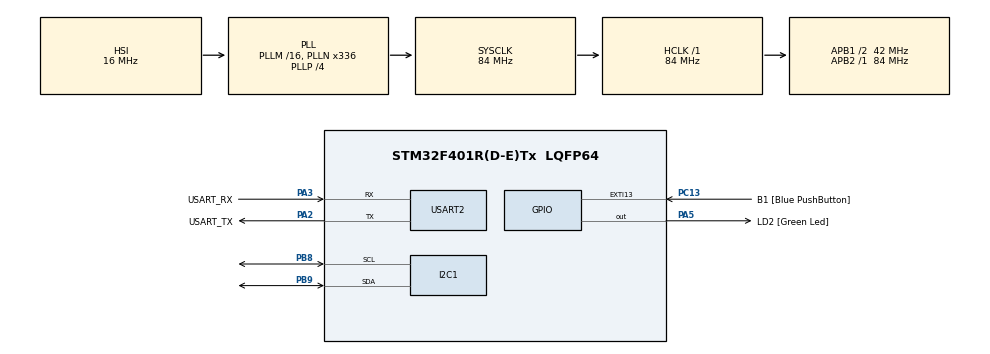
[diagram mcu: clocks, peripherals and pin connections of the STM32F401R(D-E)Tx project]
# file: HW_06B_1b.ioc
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Dma.Request0=USART2_TX
Dma.USART2_TX.0.Direction=DMA_MEMORY_TO_PERIPH
Dma.USART2_TX.0.FIFOMode=DMA_FIFOMODE_DISABLE
Dma.USART2_TX.0.Instance=DMA1_Stream6
Dma.USART2_TX.0.MemDataAlignment=DMA_MDATAALIGN_BYTE
Dma.USART2_TX.0.MemInc=DMA_MINC_ENABLE
Dma.USART2_TX.0.Mode=DMA_NORMAL
Dma.USART2_TX.0.PeriphDataAlignment=DMA_PDATAALIGN_BYTE
Dma.USART2_TX.0.PeriphInc=DMA_PINC_DISABLE
Dma.USART2_TX.0.Priority=DMA_PRIORITY_LOW
Mcu.Family=STM32F4
Mcu.Name=STM32F401R(D-E)Tx
Mcu.Package=LQFP64
NVIC.DMA1_Stream6_IRQn=true\:0\:0\:false\:false\:true\:false\:true\:true
NVIC.PriorityGroup=NVIC_PRIORITYGROUP_0
NVIC.TIM2_IRQn=true\:0\:0\:false\:false\:true\:true\:true\:true
NVIC.USART2_IRQn=true\:0\:0\:false\:false\:true\:true\:true\:true
PA13.GPIO_Label=TMS
PA13.Mode=Serial_Wire
PA13.Signal=SYS_JTMS-SWDIO
PA14.GPIO_Label=TCK
PA14.Mode=Serial_Wire
PA14.Signal=SYS_JTCK-SWCLK
PA2.GPIO_Label=USART_TX
PA2.GPIO_Mode=GPIO_MODE_AF_PP
PA2.GPIO_PuPd=GPIO_NOPULL
PA2.GPIO_Speed=GPIO_SPEED_FREQ_LOW
PA2.Mode=Asynchronous
PA2.Signal=USART2_TX
PA3.GPIO_Label=USART_RX
PA3.GPIO_Mode=GPIO_MODE_AF_PP
PA3.GPIO_PuPd=GPIO_NOPULL
PA3.GPIO_Speed=GPIO_SPEED_FREQ_LOW
PA3.Mode=Asynchronous
PA3.Signal=USART2_RX
PA5.GPIO_Label=LD2 [Green Led]
PA5.GPIO_Mode=GPIO_MODE_OUTPUT_PP
PA5.GPIO_PuPd=GPIO_NOPULL
PA5.GPIO_Speed=GPIO_SPEED_FREQ_LOW
PA5.Signal=GPIO_Output
PB3.GPIO_Label=SWO
PB3.Signal=SYS_JTDO-SWO
PB8.Mode=I2C
PB8.Signal=I2C1_SCL
PB9.Mode=I2C
PB9.Signal=I2C1_SDA
PC13-ANTI_TAMP.GPIO_Label=B1 [Blue PushButton]
PC13-ANTI_TAMP.GPIO_ModeDefaultEXTI=GPIO_MODE_IT_FALLING
PC13-ANTI_TAMP.GPIO_PuPd=GPIO_NOPULL
PC13-ANTI_TAMP.Signal=GPXTI13
PC14-OSC32_IN.Mode=LSE-External-Oscillator
PC14-OSC32_IN.Signal=RCC_OSC32_IN
PC15-OSC32_OUT.Mode=LSE-External-Oscillator
PC15-OSC32_OUT.Signal=RCC_OSC32_OUT
PH0\ -\ OSC_IN.Mode=HSE-External-Clock-Source
PH0\ -\ OSC_IN.Signal=RCC_OSC_IN
PH1\ -\ OSC_OUT.Mode=HSE-External-Clock-Source
PH1\ -\ OSC_OUT.Signal=RCC_OSC_OUT
ProjectManager.HeapSize=0x200
ProjectManager.StackSize=0x400
ProjectManager.TargetToolchain=STM32CubeIDE
RCC.48MHZClocksFreq_Value=48000000
RCC.AHBFreq_Value=84000000
RCC.APB1CLKDivider=RCC_HCLK_DIV2
RCC.APB1Freq_Value=42000000
RCC.APB1TimFreq_Value=84000000
RCC.APB2Freq_Value=84000000
RCC.APB2TimFreq_Value=84000000
RCC.CortexFreq_Value=84000000
RCC.HCLKFreq_Value=84000000
RCC.HSE_VALUE=8000000
RCC.HSI_VALUE=16000000
RCC.PLLN=336
RCC.PLLP=RCC_PLLP_DIV4
RCC.PLLQ=7
RCC.SYSCLKFreq_VALUE=84000000
RCC.SYSCLKSource=RCC_SYSCLKSOURCE_PLLCLK
RCC.VCOOutputFreq_Value=336000000
TIM2.Channel-Output\ Compare1\ No\ Output=TIM_CHANNEL_1
TIM2.Period=10000-1
TIM2.Prescaler=4800-1
TIM2.TIM_MasterOutputTrigger=TIM_TRGO_UPDATE
TIM2.TIM_MasterSlaveMode=TIM_MASTERSLAVEMODE_ENABLE
USART2.VirtualMode=VM_ASYNC
VP_TIM2_VS_ClockSourceINT.Mode=Internal
VP_TIM2_VS_no_output1.Mode=Output Compare1 No Output
board=NUCLEO-F401RE

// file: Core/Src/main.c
/* USER CODE BEGIN Header */
/**
  ******************************************************************************
  * @file           : main.c
  * @brief          : Main program body
  ******************************************************************************
  * @attention
  *
  * Copyright (c) 2023 STMicroelectronics.
  * All rights reserved.
  *
  * This software is licensed under terms that can be found in the LICENSE file
  * in the root directory of this software component.
  * If no LICENSE file comes with this software, it is provided AS-IS.
  *
  ******************************************************************************
  */
/* USER CODE END Header */
#include "main.h"

/* USER CODE BEGIN Includes */
#include "stdio.h"
/* USER CODE END Includes */

/* USER CODE BEGIN PD */

// Board variant 1
#define LIS2DE_ADD 0b01010000

// Board variant 2
//#define LIS2DE_ADD 0b00011000

/* USER CODE END PD */

I2C_HandleTypeDef hi2c1;

TIM_HandleTypeDef htim2;

UART_HandleTypeDef huart2;
DMA_HandleTypeDef hdma_usart2_tx;

/* USER CODE BEGIN PV */

//control register addresses and their initialization bytes value
uint8_t CTRL_REG1[2] = {0x20,0b00010111};
uint8_t CTRL_REG2[2] = {0x21,0b00000000};
uint8_t CTRL_REG4[2] = {0x23,0b00000000};

//sub address of register that stores x value
//0x80 is added to set the MSB of the address to 1, to activate the auto increment, see datasheet pag.22
uint8_t ACC_OUT_X = 0x29+0x80;

/* USER CODE END PV */

void SystemClock_Config(void);
static void MX_GPIO_Init(void);
static void MX_DMA_Init(void);
static void MX_USART2_UART_Init(void);
static void MX_I2C1_Init(void);
static void MX_TIM2_Init(void);

/* USER CODE BEGIN 0 */

//------------------TIMER Interrupt Service Routine -----------------------------------
void HAL_TIM_PeriodElapsedCallback(TIM_HandleTypeDef *htim)
{
	if(htim == &htim2)
	{
		int8_t coordinates[5];
		//tell to LIS2DE which register you want to read from
		//the MSB of the subaddress is set to 1 to activate the auto increment, see datasheet pag.22
		if(HAL_I2C_Master_Transmit(&hi2c1, LIS2DE_ADD, &ACC_OUT_X, 1, 50) != HAL_OK)
			Error_Handler();

		//Read data from the register (x)
		//1 is summed to the address to tell the slave that we need to read data (see datasheet pag.22)
		if(HAL_I2C_Master_Receive(&hi2c1, LIS2DE_ADD+1, (uint8_t*) &coordinates, 5, 50) != HAL_OK)
			Error_Handler();

		//conversion in g
		float x_g = coordinates[0]/64.0;
		float y_g = coordinates[2]/64.0;
		float z_g = coordinates[4]/64.0;

		char string[100];
		int length = snprintf(string,sizeof(string),"X: %1.2fg\r\nY: %1.2fg\r\nZ: %1.2fg\r\n\r\n",x_g,y_g,z_g);
		//Transmit data on UART_DMA
		HAL_UART_Transmit_DMA(&huart2, (uint8_t*)string, length);

	}
}
//-----------------------------------------------------------------------------

/* USER CODE END 0 */

int main(void)
{

  /* MCU Configuration--------------------------------------------------------*/

  /* Reset of all peripherals, Initializes the Flash interface and the Systick. */
  HAL_Init();

  /* Configure the system clock */
  SystemClock_Config();

  /* Initialize all configured peripherals */
  MX_GPIO_Init();
  MX_DMA_Init();
  MX_USART2_UART_Init();
  MX_I2C1_Init();
  MX_TIM2_Init();

  /* Infinite loop */
  /* USER CODE BEGIN WHILE */

  // send the configuration values to the 3 registers
  HAL_I2C_Master_Transmit(&hi2c1, LIS2DE_ADD, CTRL_REG1, 2, 100);
  HAL_I2C_Master_Transmit(&hi2c1, LIS2DE_ADD, CTRL_REG2, 2, 100);
  HAL_I2C_Master_Transmit(&hi2c1, LIS2DE_ADD, CTRL_REG4, 2, 100);
  //start timer
  HAL_TIM_Base_Start_IT(&htim2);

  while (1)
  {
    /* USER CODE END WHILE */

  }
}

void SystemClock_Config(void)
{
  RCC_OscInitTypeDef RCC_OscInitStruct = {0};
  RCC_ClkInitTypeDef RCC_ClkInitStruct = {0};

  /** Configure the main internal regulator output voltage
  */
  __HAL_RCC_PWR_CLK_ENABLE();
  __HAL_PWR_VOLTAGESCALING_CONFIG(PWR_REGULATOR_VOLTAGE_SCALE2);

  /** Initializes the RCC Oscillators according to the specified parameters
  * in the RCC_OscInitTypeDef structure.
  */
  RCC_OscInitStruct.OscillatorType = RCC_OSCILLATORTYPE_HSI;
  RCC_OscInitStruct.HSIState = RCC_HSI_ON;
  RCC_OscInitStruct.HSICalibrationValue = RCC_HSICALIBRATION_DEFAULT;
  RCC_OscInitStruct.PLL.PLLState = RCC_PLL_ON;
  RCC_OscInitStruct.PLL.PLLSource = RCC_PLLSOURCE_HSI;
  RCC_OscInitStruct.PLL.PLLM = 16;
  RCC_OscInitStruct.PLL.PLLN = 336;
  RCC_OscInitStruct.PLL.PLLP = RCC_PLLP_DIV4;
  RCC_OscInitStruct.PLL.PLLQ = 7;
  if (HAL_RCC_OscConfig(&RCC_OscInitStruct) != HAL_OK)
  {
    Error_Handler();
  }

  /** Initializes the CPU, AHB and APB buses clocks
  */
  RCC_ClkInitStruct.ClockType = RCC_CLOCKTYPE_HCLK|RCC_CLOCKTYPE_SYSCLK
                              |RCC_CLOCKTYPE_PCLK1|RCC_CLOCKTYPE_PCLK2;
  RCC_ClkInitStruct.SYSCLKSource = RCC_SYSCLKSOURCE_PLLCLK;
  RCC_ClkInitStruct.AHBCLKDivider = RCC_SYSCLK_DIV1;
  RCC_ClkInitStruct.APB1CLKDivider = RCC_HCLK_DIV2;
  RCC_ClkInitStruct.APB2CLKDivider = RCC_HCLK_DIV1;

  if (HAL_RCC_ClockConfig(&RCC_ClkInitStruct, FLASH_LATENCY_2) != HAL_OK)
  {
    Error_Handler();
  }
}

static void MX_I2C1_Init(void)
{

  hi2c1.Instance = I2C1;
  hi2c1.Init.ClockSpeed = 100000;
  hi2c1.Init.DutyCycle = I2C_DUTYCYCLE_2;
  hi2c1.Init.OwnAddress1 = 0;
  hi2c1.Init.AddressingMode = I2C_ADDRESSINGMODE_7BIT;
  hi2c1.Init.DualAddressMode = I2C_DUALADDRESS_DISABLE;
  hi2c1.Init.OwnAddress2 = 0;
  hi2c1.Init.GeneralCallMode = I2C_GENERALCALL_DISABLE;
  hi2c1.Init.NoStretchMode = I2C_NOSTRETCH_DISABLE;
  if (HAL_I2C_Init(&hi2c1) != HAL_OK)
  {
    Error_Handler();
  }

}

static void MX_TIM2_Init(void)
{

  TIM_ClockConfigTypeDef sClockSourceConfig = {0};
  TIM_MasterConfigTypeDef sMasterConfig = {0};
  TIM_OC_InitTypeDef sConfigOC = {0};

  htim2.Instance = TIM2;
  htim2.Init.Prescaler = 4800-1;
  htim2.Init.CounterMode = TIM_COUNTERMODE_UP;
  htim2.Init.Period = 10000-1;
  htim2.Init.ClockDivision = TIM_CLOCKDIVISION_DIV1;
  htim2.Init.AutoReloadPreload = TIM_AUTORELOAD_PRELOAD_DISABLE;
  if (HAL_TIM_Base_Init(&htim2) != HAL_OK)
  {
    Error_Handler();
  }
  sClockSourceConfig.ClockSource = TIM_CLOCKSOURCE_INTERNAL;
  if (HAL_TIM_ConfigClockSource(&htim2, &sClockSourceConfig) != HAL_OK)
  {
    Error_Handler();
  }
  if (HAL_TIM_OC_Init(&htim2) != HAL_OK)
  {
    Error_Handler();
  }
  sMasterConfig.MasterOutputTrigger = TIM_TRGO_UPDATE;
  sMasterConfig.MasterSlaveMode = TIM_MASTERSLAVEMODE_ENABLE;
  if (HAL_TIMEx_MasterConfigSynchronization(&htim2, &sMasterConfig) != HAL_OK)
  {
    Error_Handler();
  }
  sConfigOC.OCMode = TIM_OCMODE_TIMING;
  sConfigOC.Pulse = 0;
  sConfigOC.OCPolarity = TIM_OCPOLARITY_HIGH;
  sConfigOC.OCFastMode = TIM_OCFAST_DISABLE;
  if (HAL_TIM_OC_ConfigChannel(&htim2, &sConfigOC, TIM_CHANNEL_1) != HAL_OK)
  {
    Error_Handler();
  }

}

static void MX_USART2_UART_Init(void)
{

  huart2.Instance = USART2;
  huart2.Init.BaudRate = 115200;
  huart2.Init.WordLength = UART_WORDLENGTH_8B;
  huart2.Init.StopBits = UART_STOPBITS_1;
  huart2.Init.Parity = UART_PARITY_NONE;
  huart2.Init.Mode = UART_MODE_TX_RX;
  huart2.Init.HwFlowCtl = UART_HWCONTROL_NONE;
  huart2.Init.OverSampling = UART_OVERSAMPLING_16;
  if (HAL_UART_Init(&huart2) != HAL_OK)
  {
    Error_Handler();
  }

}

static void MX_DMA_Init(void)
{

  /* DMA controller clock enable */
  __HAL_RCC_DMA1_CLK_ENABLE();

  /* DMA interrupt init */
  /* DMA1_Stream6_IRQn interrupt configuration */
  HAL_NVIC_SetPriority(DMA1_Stream6_IRQn, 0, 0);
  HAL_NVIC_EnableIRQ(DMA1_Stream6_IRQn);

}

static void MX_GPIO_Init(void)
{
  GPIO_InitTypeDef GPIO_InitStruct = {0};

  /* GPIO Ports Clock Enable */
  __HAL_RCC_GPIOC_CLK_ENABLE();
  __HAL_RCC_GPIOH_CLK_ENABLE();
  __HAL_RCC_GPIOA_CLK_ENABLE();
  __HAL_RCC_GPIOB_CLK_ENABLE();

  /*Configure GPIO pin Output Level */
  HAL_GPIO_WritePin(LD2_GPIO_Port, LD2_Pin, GPIO_PIN_RESET);

  /*Configure GPIO pin : B1_Pin */
  GPIO_InitStruct.Pin = B1_Pin;
  GPIO_InitStruct.Mode = GPIO_MODE_IT_FALLING;
  GPIO_InitStruct.Pull = GPIO_NOPULL;
  HAL_GPIO_Init(B1_GPIO_Port, &GPIO_InitStruct);

  /*Configure GPIO pin : LD2_Pin */
  GPIO_InitStruct.Pin = LD2_Pin;
  GPIO_InitStruct.Mode = GPIO_MODE_OUTPUT_PP;
  GPIO_InitStruct.Pull = GPIO_NOPULL;
  GPIO_InitStruct.Speed = GPIO_SPEED_FREQ_LOW;
  HAL_GPIO_Init(LD2_GPIO_Port, &GPIO_InitStruct);

}

void Error_Handler(void)
{
  __disable_irq();
  while (1)
  {
  }
}
